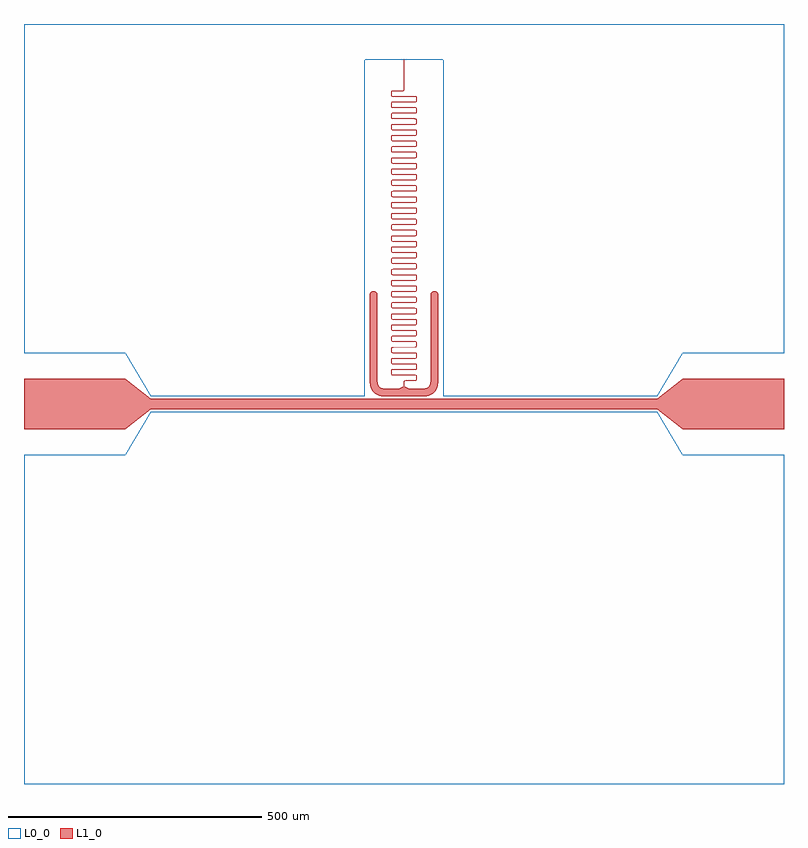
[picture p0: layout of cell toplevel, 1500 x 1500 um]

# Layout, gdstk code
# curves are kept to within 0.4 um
import gdstk
lib = gdstk.Library(unit=1e-6, precision=1e-09)
def P(c, l, *ps):  # polygons
    for p in ps: c.add(gdstk.Polygon(p, *l))
L0_0 = (0, 0)
L1_0 = (1, 0)

toplevel = lib.new_cell('toplevel')
P(toplevel, L0_0, [(77.5,679),(77.5,15),(500,15),(550,100),(750,100),(750,750),(-750,750),(-750,100),(-550,100),(-500,15),(-77.5,15),(-77.5,679)],
  [(750,-100),(550,-100),(500,-15),(-500,-15),(-550,-100),(-750,-100),(-750,-750),(750,-750)])
P(toplevel, L1_0, [(-60.327,222.493),(-63.17,221.797),(-65.53,220.067),(-67.048,217.565),(-67.5,215),(-67.466,46.294),(-66.361,36.299),(-63.309,28.269),(-59.261,22.96),(-54.07,19.101),(-47.508,16.466),(-39.892,15.211),(37.654,15.08),(46.853,16.295),(54.231,19.191),(59.678,23.38),(63.576,28.753),(66.164,35.484),(67.352,43.513),(67.5,215),(66.495,218.75),(63.17,221.797),(58.377,222.322),(54.47,220.067),(52.529,215.654),(52.486,47.498),(51.922,40.522),(50.334,35.8),(48.603,33.52),(46.053,31.837),(38.181,30.127),(-36.211,30.039),(-43.028,30.801),(-47.908,32.94),(-50.663,36.447),(-52.173,42.144),(-52.507,215.327),(-53.203,218.17),(-54.933,220.53),(-57.435,222.048)],
  [(0.5,35),(0.542,43.395),(0.892,44.54),(1.647,45.207),(3.309,45.498),(22.056,45.513),(23.416,45.743),(24.439,46.314),(25.209,47.449),(25.492,49.074),(25.462,54.413),(25.237,55.474),(24.782,56.322),(23.609,57.187),(21.852,57.495),(-22.765,57.601),(-23.43,57.83),(-23.923,58.208),(-24.254,58.752),(-24.442,59.48),(-24.486,65.057),(-24.353,65.956),(-24.056,66.621),(-23.194,67.275),(-21.742,67.497),(22.451,67.542),(23.855,67.925),(24.834,68.747),(25.365,69.971),(25.489,76.018),(25.257,77.416),(24.918,78.129),(24.422,78.7),(23.761,79.121),(22.951,79.382),(21.454,79.5),(-22.074,79.515),(-23.153,79.71),(-23.887,80.169),(-24.319,80.93),(-24.491,82.041),(-24.386,87.824),(-23.85,88.869),(-22.794,89.393),(-21.451,89.5),(22.262,89.525),(23.628,89.821),(24.627,90.496),(25.251,91.564),(25.49,93),(25.494,97.889),(25.3,99.281),(24.974,100.039),(24.488,100.642),(23.836,101.085),(23.009,101.37),(21.454,101.5),(-22.074,101.515),(-23.139,101.705),(-23.878,102.159),(-24.314,102.916),(-24.49,104.025),(-24.386,109.824),(-23.85,110.869),(-22.794,111.393),(-21.451,111.5),(22.262,111.525),(23.628,111.821),(24.627,112.496),(25.244,113.545),(25.489,114.982),(25.494,119.889),(25.3,121.281),(24.974,122.039),(24.488,122.642),(23.836,123.085),(23.009,123.37),(21.454,123.5),(-22.074,123.515),(-23.139,123.705),(-23.878,124.159),(-24.314,124.916),(-24.49,126.025),(-24.386,131.824),(-23.85,132.869),(-22.794,133.393),(-21.451,133.5),(22.262,133.525),(23.628,133.821),(24.627,134.496),(25.244,135.545),(25.488,136.963),(25.494,141.889),(25.3,143.281),(24.974,144.039),(24.488,144.642),(23.836,145.085),(23.009,145.37),(21.454,145.5),(-22.074,145.515),(-23.139,145.705),(-23.878,146.159),(-24.314,146.916),(-24.489,148.008),(-24.386,153.824),(-23.85,154.869),(-22.794,155.393),(-21.451,155.5),(22.262,155.525),(23.609,155.813),(24.612,156.48),(25.237,157.526),(25.487,158.944),(25.494,163.889),(25.3,165.281),(24.974,166.039),(24.488,166.642),(23.836,167.085),(23.009,167.37),(21.454,167.5),(-22.057,167.514),(-23.126,167.7),(-23.869,168.15),(-24.31,168.902),(-24.488,169.992),(-24.386,175.824),(-23.85,176.869),(-22.794,177.393),(-21.451,177.5),(22.262,177.525),(23.609,177.813),(24.612,178.48),(25.237,179.526),(25.486,180.926),(25.494,185.889),(25.3,187.281),(24.974,188.039),(24.488,188.642),(23.836,189.085),(23.009,189.37),(21.454,189.5),(-22.057,189.514),(-23.126,189.7),(-23.869,190.15),(-24.31,190.902),(-24.488,191.975),(-24.386,197.824),(-23.85,198.869),(-22.794,199.393),(-21.451,199.5),(22.243,199.524),(23.609,199.813),(24.597,200.465),(25.231,201.507),(25.485,202.907),(25.494,207.871),(25.3,209.281),(24.974,210.039),(24.488,210.642),(23.836,211.085),(23.009,211.37),(21.454,211.5),(-22.057,211.514),(-23.126,211.7),(-23.86,212.14),(-24.305,212.888),(-24.487,213.959),(-24.386,219.824),(-23.85,220.869),(-22.794,221.393),(-21.451,221.5),(22.243,221.524),(23.609,221.813),(24.597,222.465),(25.224,223.487),(25.484,224.888),(25.494,229.871),(25.3,231.281),(24.974,232.039),(24.488,232.642),(23.836,233.085),(23.009,233.37),(21.454,233.5),(-22.057,233.514),(-23.126,233.7),(-23.86,234.14),(-24.3,234.874),(-24.486,235.943),(-24.39,241.809),(-23.86,242.86),(-22.794,243.393),(-21.451,243.5),(22.243,243.524),(23.609,243.813),(24.597,244.465),(25.224,245.487),(25.483,246.87),(25.494,251.871),(25.306,253.261),(24.974,254.039),(24.488,254.642),(23.836,255.085),(23.009,255.37),(21.454,255.5),(-22.057,255.514),(-23.112,255.695),(-23.85,256.131),(-24.295,256.861),(-24.484,257.91),(-24.39,263.809),(-23.86,264.86),(-22.794,265.393),(-21.451,265.5),(22.243,265.524),(23.609,265.813),(24.597,266.465),(25.224,267.487),(25.482,268.851),(25.494,273.871),(25.306,275.261),(24.974,276.039),(24.488,276.642),(23.836,277.085),(23.009,277.37),(21.454,277.5),(-22.057,277.514),(-23.112,277.695),(-23.85,278.131),(-24.29,278.847),(-24.483,279.894),(-24.39,285.809),(-23.86,286.86),(-22.794,287.393),(-21.451,287.5),(22.243,287.524),(23.589,287.806),(24.582,288.449),(25.209,289.449),(25.48,290.814),(25.495,295.852),(25.306,297.261),(24.974,298.039),(24.488,298.642),(23.836,299.085),(23.009,299.37),(21.454,299.5),(-22.041,299.513),(-23.098,299.69),(-23.841,300.122),(-24.285,300.833),(-24.482,301.877),(-24.39,307.809),(-23.86,308.86),(-22.794,309.393),(-21.451,309.5),(22.243,309.524),(23.589,309.806),(24.582,310.449),(25.209,311.449),(25.479,312.795),(25.495,317.852),(25.306,319.261),(24.974,320.039),(24.488,320.642),(23.836,321.085),(23.009,321.37),(21.454,321.5),(-22.041,321.513),(-23.098,321.69),(-23.831,322.113),(-24.28,322.819),(-24.48,323.845),(-24.39,329.809),(-23.86,330.86),(-22.794,331.393),(-21.451,331.5),(22.224,331.523),(23.57,331.798),(24.567,332.433),(25.202,333.43),(25.476,334.757),(25.495,339.852),(25.306,341.261),(24.974,342.039),(24.488,342.642),(23.836,343.085),(23.009,343.37),(21.454,343.5),(-22.041,343.513),(-23.098,343.69),(-23.831,344.113),(-24.28,344.819),(-24.479,345.829),(-24.39,351.809),(-23.86,352.86),(-22.794,353.393),(-21.451,353.5),(22.224,353.523),(23.551,353.791),(24.551,354.418),(25.194,355.411),(25.475,356.738),(25.495,361.852),(25.306,363.261),(24.974,364.039),(24.488,364.642),(23.836,365.085),(23.009,365.37),(21.454,365.5),(-22.041,365.513),(-23.084,365.686),(-23.821,366.104),(-24.27,366.792),(-24.476,367.796),(-24.393,373.794),(-23.86,374.86),(-22.794,375.393),(-21.451,375.5),(22.224,375.523),(23.551,375.791),(24.551,376.418),(25.187,377.391),(25.472,378.701),(25.495,383.834),(25.311,385.242),(24.985,386.021),(24.488,386.642),(23.836,387.085),(23.009,387.37),(21.454,387.5),(-22.025,387.512),(-23.07,387.681),(-23.812,388.095),(-24.264,388.779),(-24.474,389.764),(-24.393,395.794),(-23.86,396.86),(-22.794,397.393),(-21.451,397.5),(22.224,397.523),(23.551,397.791),(24.535,398.403),(25.179,399.372),(25.469,400.663),(25.496,405.816),(25.311,407.242),(24.985,408.021),(24.488,408.642),(23.836,409.085),(23.009,409.37),(21.454,409.5),(-22.025,409.512),(-23.07,409.681),(-23.802,410.086),(-24.259,410.765),(-24.471,411.732),(-24.393,417.794),(-23.86,418.86),(-22.794,419.393),(-21.451,419.5),(22.205,419.521),(23.532,419.784),(24.52,420.388),(25.163,421.334),(25.464,422.606),(25.496,427.816),(25.311,429.242),(24.985,430.021),(24.488,430.642),(23.836,431.085),(23.009,431.37),(21.454,431.5),(-22.025,431.512),(-23.056,431.677),(-23.792,432.077),(-24.248,432.738),(-24.467,433.684),(-24.396,439.779),(-23.86,440.86),(-22.794,441.393),(-21.451,441.5),(22.205,441.521),(23.513,441.776),(24.504,442.373),(25.155,443.315),(25.46,444.568),(25.496,449.797),(25.317,451.223),(24.996,452.003),(24.504,452.627),(23.836,453.085),(23.009,453.37),(21.454,453.5),(-22.008,453.512),(-23.042,453.672),(-23.782,454.068),(-24.237,454.712),(-24.462,455.636),(-24.396,461.779),(-23.86,462.86),(-22.794,463.393),(-21.451,463.5),(22.186,463.52),(23.493,463.769),(24.488,464.358),(25.138,465.277),(25.454,466.511),(25.496,471.779),(25.317,473.223),(24.996,474.003),(24.504,474.627),(23.836,475.085),(23.009,475.37),(21.454,475.5),(-22.008,475.512),(-23.027,475.668),(-23.762,476.051),(-24.219,476.673),(-24.456,477.589),(-24.396,483.779),(-23.86,484.86),(-22.779,485.396),(22.186,485.52),(23.493,485.769),(24.471,486.343),(25.121,487.239),(25.445,488.434),(25.497,493.743),(25.322,495.203),(24.996,496.003),(24.504,496.627),(23.836,497.085),(23.009,497.37),(21.454,497.5),(-21.992,497.511),(-23.013,497.664),(-23.741,498.034),(-24.207,498.647),(-24.449,499.526),(-24.399,505.765),(-23.86,506.86),(-22.779,507.396),(22.168,507.519),(23.455,507.756),(24.439,508.314),(25.094,509.183),(25.435,510.358),(25.498,515.706),(25.327,517.184),(25.006,517.984),(24.52,518.612),(23.855,519.075),(23.029,519.365),(21.454,519.5),(-21.975,519.51),(-22.985,519.655),(-23.72,520.017),(-24.189,520.608),(-24.44,521.464),(-24.399,527.765),(-23.86,528.86),(-22.779,529.396),(-21.451,529.5),(22.149,529.518),(23.436,529.749),(24.406,530.286),(25.066,531.127),(25.421,532.261),(25.498,537.67),(25.332,539.165),(25.016,539.966),(24.52,540.612),(23.855,541.075),(23.029,541.365),(21.454,541.5),(-21.975,541.51),(-22.97,541.651),(-23.699,542),(-24.163,542.558),(-24.425,543.372),(-24.403,549.75),(-23.869,550.85),(-22.779,551.396),(-21.434,551.5),(22.13,551.517),(23.397,551.736),(24.356,552.245),(25.027,553.052),(25.401,554.146),(25.499,559.598),(25.337,561.145),(25.027,561.948),(24.535,562.597),(23.873,563.066),(23.029,563.365),(21.454,563.5),(-21.942,563.509),(-22.927,563.639),(-23.655,563.968),(-24.129,564.496),(-24.406,565.265),(-24.406,571.735),(-23.869,572.85),(-22.779,573.396),(-21.434,573.5),(22.112,573.516),(23.339,573.717),(24.305,574.205),(24.974,574.961),(25.37,575.991),(25.5,581.49),(25.342,583.126),(25.027,583.948),(24.535,584.597),(23.873,585.066),(23.029,585.365),(21.454,585.5),(-21.926,585.508),(-22.898,585.632),(-23.61,585.937),(-24.086,586.425),(-24.379,587.146),(-24.5,588.497),(-24.412,593.704),(-23.878,594.841),(-22.779,595.396),(-21.434,595.5),(22.074,595.514),(23.281,595.7),(24.218,596.141),(24.895,596.835),(25.322,597.797),(25.5,599.51),(25.495,603.852),(25.352,605.087),(25.037,605.929),(24.551,606.582),(23.873,607.066),(23.029,607.365),(21.454,607.5),(-21.892,607.507),(-22.839,607.617),(-23.54,607.892),(-24.016,608.323),(-24.332,608.973),(-24.497,610.275),(-24.451,615.458),(-24.071,616.598),(-23.288,617.237),(-21.674,617.498),(-2.587,617.538),(-1.584,617.743),(-0.782,618.141),(-0.179,618.73),(0.237,619.526),(0.5,621.51),(0.5,679),(-0.5,679),(-0.5,621.531),(-0.705,619.861),(-1,619.301),(-1.425,618.914),(-2.812,618.522),(-21.761,618.497),(-22.854,618.401),(-23.742,618.13),(-24.859,617.218),(-25.417,615.758),(-25.497,610.257),(-25.288,608.68),(-24.846,607.764),(-24.165,607.105),(-23.242,606.689),(-22.056,606.513),(22.779,606.396),(23.878,605.841),(24.414,604.689),(24.499,599.411),(24.357,598.059),(24.056,597.379),(23.575,596.914),(22.868,596.624),(21.909,596.508),(-21.454,596.5),(-23.029,596.365),(-23.873,596.066),(-24.551,595.582),(-25.037,594.929),(-25.347,594.106),(-25.5,592.348),(-25.495,588.148),(-25.352,586.913),(-24.941,585.906),(-24.27,585.179),(-23.32,584.712),(-22.093,584.515),(22.779,584.396),(23.878,583.841),(24.409,582.719),(24.5,577.566),(24.393,576.206),(24.108,575.46),(23.632,574.952),(22.912,574.635),(21.942,574.509),(-21.454,574.5),(-23.029,574.365),(-23.873,574.066),(-24.535,573.597),(-25.027,572.948),(-25.337,572.145),(-25.499,570.562),(-25.386,565.068),(-25.006,564.016),(-24.339,563.231),(-23.378,562.73),(-22.13,562.517),(22.779,562.396),(23.869,561.85),(24.406,560.735),(24.417,554.326),(24.15,553.533),(23.677,552.984),(22.956,552.647),(21.959,552.509),(-21.454,552.5),(-23.029,552.365),(-23.855,552.075),(-24.52,551.612),(-25.016,550.966),(-25.332,550.165),(-25.499,548.634),(-25.411,543.204),(-25.047,542.09),(-24.389,541.272),(-23.416,540.743),(-22.149,540.518),(22.779,540.396),(23.869,539.85),(24.403,538.75),(24.433,532.418),(24.176,531.583),(23.709,531.008),(22.985,530.655),(21.975,530.51),(-21.454,530.5),(-23.029,530.365),(-23.855,530.075),(-24.52,529.612),(-25.006,528.984),(-25.327,528.184),(-25.498,526.706),(-25.429,521.319),(-25.085,520.164),(-24.422,519.3),(-23.455,518.756),(-22.168,518.519),(22.779,518.396),(23.86,517.86),(24.399,516.765),(24.444,510.495),(24.201,509.634),(23.741,509.034),(23.013,508.664),(21.992,508.511),(-21.454,508.5),(-23.029,508.365),(-23.855,508.075),(-24.52,507.612),(-25.006,506.984),(-25.322,506.203),(-25.497,504.743),(-25.44,499.396),(-25.103,498.202),(-24.455,497.329),(-23.474,496.763),(-22.168,496.519),(22.779,496.396),(23.86,495.86),(24.396,494.779),(24.453,488.558),(24.213,487.66),(23.751,487.042),(23.013,486.664),(21.992,486.511),(-21.454,486.5),(-23.009,486.37),(-23.836,486.085),(-24.504,485.627),(-24.996,485.003),(-25.317,484.223),(-25.497,482.761),(-25.45,477.473),(-25.121,476.239),(-24.471,475.343),(-23.493,474.769),(-22.186,474.52),(22.779,474.396),(23.86,473.86),(24.396,472.779),(24.46,466.621),(24.231,465.699),(23.772,465.059),(23.042,464.672),(22.008,464.512),(-21.454,464.5),(-23.009,464.37),(-23.836,464.085),(-24.504,463.627),(-24.996,463.003),(-25.317,462.223),(-25.496,460.779),(-25.456,455.53),(-25.138,454.277),(-24.488,453.358),(-23.493,452.769),(-22.186,452.52),(22.779,452.396),(23.86,451.86),(24.393,450.794),(24.465,444.668),(24.242,443.725),(23.782,443.068),(23.042,442.672),(22.008,442.512),(-21.454,442.5),(-23.009,442.37),(-23.836,442.085),(-24.504,441.627),(-24.996,441.003),(-25.317,440.223),(-25.496,438.797),(-25.462,433.587),(-25.163,432.334),(-24.52,431.388),(-23.532,430.784),(-22.205,430.521),(21.451,430.5),(22.794,430.393),(23.86,429.86),(24.396,428.779),(24.468,422.7),(24.254,421.752),(23.802,421.086),(23.07,420.681),(22.025,420.512),(-21.454,420.5),(-23.009,420.37),(-23.836,420.085),(-24.488,419.642),(-24.985,419.021),(-25.311,418.242),(-25.496,416.816),(-25.467,411.644),(-25.171,410.353),(-24.52,409.388),(-23.532,408.784),(-22.205,408.521),(21.451,408.5),(22.794,408.393),(23.86,407.86),(24.393,406.794),(24.472,400.748),(24.259,399.765),(23.812,399.095),(23.07,398.681),(22.025,398.512),(-21.454,398.5),(-23.009,398.37),(-23.836,398.085),(-24.488,397.642),(-24.985,397.021),(-25.311,396.242),(-25.496,394.816),(-25.47,389.682),(-25.179,388.372),(-24.535,387.403),(-23.551,386.791),(-22.224,386.523),(21.451,386.5),(22.794,386.393),(23.86,385.86),(24.393,384.794),(24.475,378.78),(24.27,377.792),(23.821,377.104),(23.084,376.686),(22.025,376.512),(-21.454,376.5),(-23.009,376.37),(-23.836,376.085),(-24.488,375.642),(-24.985,375.021),(-25.311,374.242),(-25.495,372.834),(-25.473,367.72),(-25.187,366.391),(-24.551,365.418),(-23.551,364.791),(-22.224,364.523),(21.451,364.5),(22.794,364.393),(23.86,363.86),(24.393,362.794),(24.478,356.812),(24.275,355.806),(23.831,355.113),(23.098,354.69),(22.041,354.513),(-21.454,354.5),(-23.009,354.37),(-23.836,354.085),(-24.488,353.642),(-24.974,353.039),(-25.306,352.261),(-25.495,350.852),(-25.476,345.757),(-25.202,344.43),(-24.567,343.433),(-23.57,342.798),(-22.224,342.523),(21.451,342.5),(22.794,342.393),(23.86,341.86),(24.39,340.809),(24.479,334.829),(24.28,333.819),(23.831,333.113),(23.098,332.69),(22.041,332.513),(-21.454,332.5),(-23.009,332.37),(-23.836,332.085),(-24.488,331.642),(-24.974,331.039),(-25.306,330.261),(-25.495,328.852),(-25.477,323.776),(-25.202,322.43),(-24.567,321.433),(-23.57,320.798),(-22.224,320.523),(21.451,320.5),(22.794,320.393),(23.86,319.86),(24.39,318.809),(24.481,312.861),(24.285,311.833),(23.841,311.122),(23.098,310.69),(22.041,310.513),(-21.454,310.5),(-23.009,310.37),(-23.836,310.085),(-24.488,309.642),(-24.974,309.039),(-25.306,308.261),(-25.495,306.852),(-25.48,301.814),(-25.209,300.449),(-24.582,299.449),(-23.589,298.806),(-22.243,298.524),(21.451,298.5),(22.794,298.393),(23.86,297.86),(24.39,296.809),(24.483,290.894),(24.29,289.847),(23.85,289.131),(23.112,288.695),(22.057,288.514),(-21.454,288.5),(-23.009,288.37),(-23.836,288.085),(-24.488,287.642),(-24.974,287.039),(-25.306,286.261),(-25.495,284.852),(-25.481,279.832),(-25.216,278.468),(-24.582,277.449),(-23.589,276.806),(-22.243,276.524),(21.451,276.5),(22.794,276.393),(23.86,275.86),(24.39,274.809),(24.484,268.91),(24.295,267.861),(23.85,267.131),(23.112,266.695),(22.057,266.514),(-21.454,266.5),(-23.009,266.37),(-23.836,266.085),(-24.488,265.642),(-24.974,265.039),(-25.306,264.261),(-25.494,262.871),(-25.482,257.851),(-25.224,256.487),(-24.597,255.465),(-23.609,254.813),(-22.243,254.524),(21.451,254.5),(22.794,254.393),(23.86,253.86),(24.39,252.809),(24.485,246.926),(24.3,245.874),(23.86,245.14),(23.126,244.7),(22.057,244.514),(-21.454,244.5),(-23.009,244.37),(-23.836,244.085),(-24.488,243.642),(-24.974,243.039),(-25.3,242.281),(-25.494,240.871),(-25.484,235.888),(-25.224,234.487),(-24.597,233.465),(-23.609,232.813),(-22.243,232.524),(21.451,232.5),(22.794,232.393),(23.86,231.86),(24.39,230.809),(24.486,224.943),(24.3,223.874),(23.86,223.14),(23.126,222.7),(22.057,222.514),(-21.454,222.5),(-23.009,222.37),(-23.836,222.085),(-24.488,221.642),(-24.974,221.039),(-25.3,220.281),(-25.494,218.871),(-25.485,213.907),(-25.231,212.507),(-24.597,211.465),(-23.609,210.813),(-22.243,210.524),(21.451,210.5),(22.794,210.393),(23.85,209.869),(24.386,208.824),(24.487,202.959),(24.305,201.888),(23.86,201.14),(23.126,200.7),(22.057,200.514),(-21.454,200.5),(-23.009,200.37),(-23.836,200.085),(-24.488,199.642),(-24.974,199.039),(-25.3,198.281),(-25.494,196.889),(-25.486,191.926),(-25.237,190.526),(-24.612,189.48),(-23.609,188.813),(-22.262,188.525),(21.451,188.5),(22.794,188.393),(23.85,187.869),(24.386,186.824),(24.488,180.975),(24.31,179.902),(23.869,179.15),(23.126,178.7),(22.057,178.514),(-21.454,178.5),(-23.009,178.37),(-23.836,178.085),(-24.488,177.642),(-24.974,177.039),(-25.3,176.281),(-25.494,174.889),(-25.487,169.944),(-25.237,168.526),(-24.612,167.48),(-23.609,166.813),(-22.262,166.525),(21.451,166.5),(22.794,166.393),(23.85,165.869),(24.386,164.824),(24.488,158.992),(24.31,157.902),(23.869,157.15),(23.126,156.7),(22.057,156.514),(-21.454,156.5),(-23.009,156.37),(-23.836,156.085),(-24.488,155.642),(-24.974,155.039),(-25.3,154.281),(-25.494,152.889),(-25.488,147.963),(-25.244,146.545),(-24.627,145.496),(-23.628,144.821),(-22.262,144.525),(21.451,144.5),(22.794,144.393),(23.85,143.869),(24.386,142.824),(24.489,137.008),(24.314,135.916),(23.878,135.159),(23.139,134.705),(22.074,134.515),(-21.454,134.5),(-23.009,134.37),(-23.836,134.085),(-24.488,133.642),(-24.974,133.039),(-25.3,132.281),(-25.494,130.889),(-25.488,125.963),(-25.244,124.545),(-24.627,123.496),(-23.628,122.821),(-22.262,122.525),(21.451,122.5),(22.794,122.393),(23.85,121.869),(24.386,120.824),(24.49,115.025),(24.314,113.916),(23.878,113.159),(23.139,112.705),(22.074,112.515),(-21.454,112.5),(-23.009,112.37),(-23.836,112.085),(-24.488,111.642),(-24.974,111.039),(-25.3,110.281),(-25.494,108.889),(-25.489,103.982),(-25.244,102.545),(-24.627,101.496),(-23.628,100.821),(-22.262,100.525),(21.451,100.5),(22.794,100.393),(23.85,99.869),(24.386,98.824),(24.491,93.041),(24.319,91.93),(23.887,91.169),(23.153,90.71),(22.074,90.515),(-21.454,90.5),(-23.009,90.37),(-23.836,90.085),(-24.488,89.642),(-24.974,89.039),(-25.3,88.281),(-25.494,86.889),(-25.49,82),(-25.251,80.564),(-24.627,79.496),(-23.628,78.821),(-22.262,78.525),(22.75,78.403),(23.812,77.905),(24.365,76.912),(24.495,75.826),(24.5,71.74),(24.412,70.296),(24.048,69.368),(23.353,68.793),(22.284,68.53),(-21.871,68.494),(-23.685,68.155),(-24.373,67.742),(-24.883,67.183),(-25.294,66.3),(-25.479,65.205),(-25.411,59.204),(-25.13,58.258),(-24.642,57.512),(-23.948,56.973),(-23.068,56.644),(-21.472,56.5),(21.758,56.497),(23.139,56.295),(24,55.699),(24.328,55.042),(24.48,54.155),(24.475,48.78),(24.115,47.472),(23.275,46.758),(21.657,46.502),(2.963,46.488),(1.603,46.264),(0.594,45.714),(-0.121,44.761),(-0.46,43.432),(-0.5,35)],
  [(10,30),(0.5,35),(-0.5,35),(-10,30)],
  [(-500,10),(-550,50),(-750,50),(-750,-50),(-550,-50),(-500,-10),(500,-10),(550,-50),(750,-50),(750,50),(550,50),(500,10)])

lib.write_gds('toplevel.gds')
